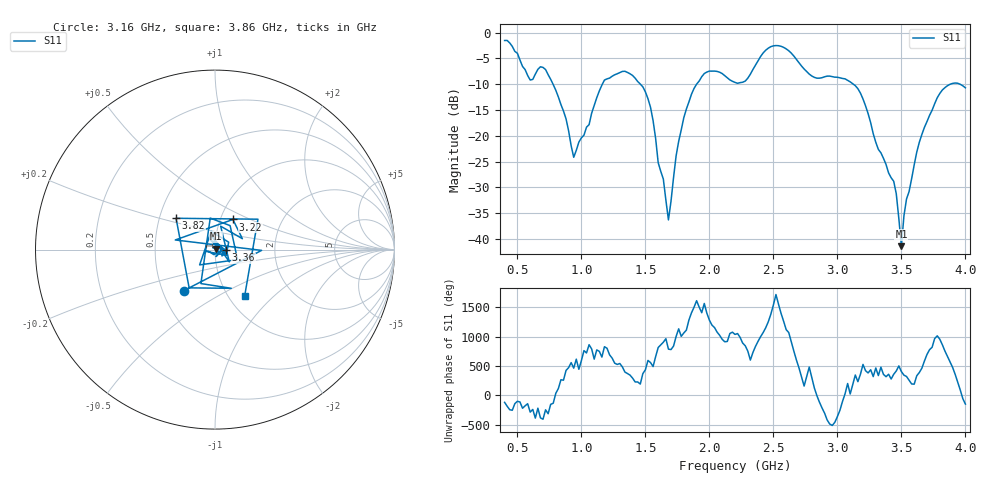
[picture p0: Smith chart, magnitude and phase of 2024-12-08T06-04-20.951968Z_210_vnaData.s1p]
!Created with skrf (http://scikit-rf.org).
# Hz S RI R 50.0
!freq ReS11 ImS11
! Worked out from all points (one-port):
!   181 points, 400 MHz to 4 GHz, reference 50 ohm
!   lowest |S11| = -41.4 dB at 3.5 GHz (marker M1), VSWR 1.02, Z = 50.6 + j0.607 ohm
!   |S11| at or under -10 dB: 778.7 MHz to 1.163 GHz (384.7 MHz wide, 39.6 % of centre); 1.461 GHz to 1.9 GHz (438.2 MHz wide, 26.1 % of centre); 3.125 GHz to 3.881 GHz (755.9 MHz wide, 21.6 % of centre) (the widest 3 of 4)
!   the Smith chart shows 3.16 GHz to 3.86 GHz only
!   S11 on the Smith chart (normalised r, x): 3.16 GHz: 0.64, -0.32; 3.22 GHz: 1.15, +0.40; 3.36 GHz: 1.13, -0.01; 3.82 GHz: 0.61, +0.23; 3.86 GHz: 1.19, -0.68
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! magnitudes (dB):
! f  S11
! 400 MHz  -1.5
! 600 MHz  -9.2
! 720 MHz  -7.2
! 860 MHz  -15.2
! 940 MHz  -24.2
! 1.18 GHz  -9.2
! 1.3 GHz  -7.7
! 1.52 GHz  -12.8
! 1.68 GHz  -36.3
! 1.76 GHz  -21.0
! 1.86 GHz  -11.9
! 1.96 GHz  -7.9
! 2.2 GHz  -9.6
! 2.48 GHz  -2.7
! 2.66 GHz  -4.5
! 2.82 GHz  -8.7
! 3.1 GHz  -9.5
! 3.16 GHz  -10.9
! 3.22 GHz  -14.2
! 3.36 GHz  -24.4
! 3.46 GHz  -31.2
! 3.5 GHz  -41.4
! 3.52 GHz  -35.5
! 3.56 GHz  -30.8
! 3.64 GHz  -21.2
! 3.82 GHz  -11.1
! 3.86 GHz  -10.3
! 4 GHz  -10.7
